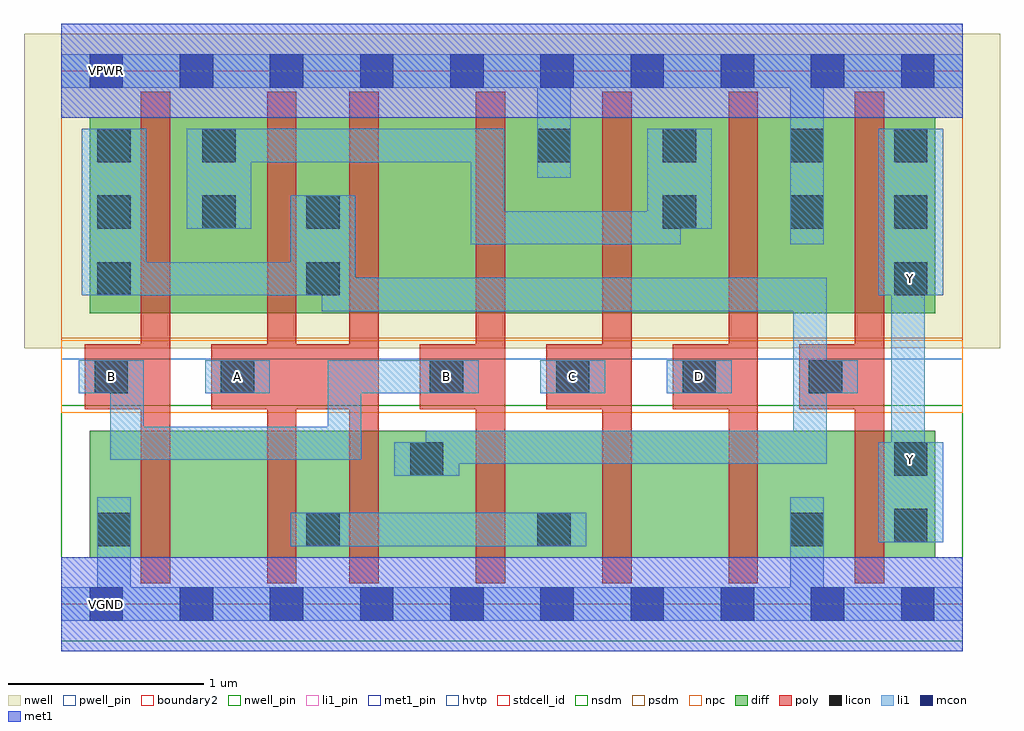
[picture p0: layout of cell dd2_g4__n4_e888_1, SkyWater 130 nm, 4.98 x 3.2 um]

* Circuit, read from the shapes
.subckt dd2_g4__n4_e888_1 A B C D VGND VNB VPB VPWR Y
XM1 n1 B VGND VNB sky130_fd_pr__nfet_01v8 w=0.65 l=0.15
XM2 n2 A n1 VNB sky130_fd_pr__nfet_01v8 w=0.65 l=0.15
XM3 n3 A n2 VNB sky130_fd_pr__nfet_01v8 w=0.65 l=0.15
XM4 n2 B n3 VNB sky130_fd_pr__nfet_01v8 w=0.65 l=0.15
XM5 n4 C n2 VNB sky130_fd_pr__nfet_01v8 w=0.65 l=0.15
XM6 VGND D n4 VNB sky130_fd_pr__nfet_01v8 w=0.65 l=0.15
XM7 Y n3 VGND VNB sky130_fd_pr__nfet_01v8 w=0.65 l=0.15
XM8 n5 B n3 VPB sky130_fd_pr__pfet_01v8_hvt w=1 l=0.15
XM9 n3 A n5 VPB sky130_fd_pr__pfet_01v8_hvt w=1 l=0.15
XM10 n6 A n3 VPB sky130_fd_pr__pfet_01v8_hvt w=1 l=0.15
XM11 VPWR B n6 VPB sky130_fd_pr__pfet_01v8_hvt w=1 l=0.15
XM12 n5 C VPWR VPB sky130_fd_pr__pfet_01v8_hvt w=1 l=0.15
XM13 VPWR D n5 VPB sky130_fd_pr__pfet_01v8_hvt w=1 l=0.15
XM14 Y n3 VPWR VPB sky130_fd_pr__pfet_01v8_hvt w=1 l=0.15
.ends

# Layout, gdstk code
import gdstk
lib = gdstk.Library(unit=1e-6, precision=1e-09)
def R(c, l, rs):  # rectangles x0, y0, x1, y1
    for r in rs: c.add(gdstk.rectangle(r[:2], r[2:], *l))
def A(c, l, x, y, w, h, nx, ny, dx, dy):  # array of equal rectangles
    R(c, l, [(x+i*dx, y+j*dy, x+i*dx+w, y+j*dy+h) for i in range(nx) for j in range(ny)])
nwell_pin = (64, 16)
nwell = (64, 20)
diff = (65, 20)
poly = (66, 20)
licon = (66, 44)
li1_pin = (67, 16)
li1 = (67, 20)
mcon = (67, 44)
met1_pin = (68, 16)
met1 = (68, 20)
hvtp = (78, 44)
stdcell_id = (81, 4)
nsdm = (93, 44)
psdm = (94, 20)
npc = (95, 20)
pwell_pin = (122, 16)
boundary2 = (236, 0)

dd2_g4__n4_e888_1 = lib.new_cell('dd2_g4__n4_e888_1')
R(dd2_g4__n4_e888_1, nwell_pin, [(0.145,2.635,0.315,2.805)])
R(dd2_g4__n4_e888_1, nwell, [(-0.19,1.305,4.79,2.91)])
R(dd2_g4__n4_e888_1, diff, [(0.145,0.235,0.8,0.885), (0.8,0.235,1.335,0.885), (1.335,0.235,1.87,0.885), (1.87,0.235,2.51,0.885), (2.51,0.235,3.155,0.885), (3.155,0.235,3.8,0.885), (3.8,0.235,4.46,0.885), (0.145,1.485,0.8,2.485), (0.8,1.485,1.335,2.485), (1.335,1.485,1.87,2.485), (1.87,1.485,2.51,2.485), (2.51,1.485,3.155,2.485), (3.155,1.485,3.8,2.485), (3.8,1.485,4.46,2.485)])
A(dd2_g4__n4_e888_1, poly, 1.47, 0.105, 0.15, 2.51, 5, 1, 0.645, 0)
A(dd2_g4__n4_e888_1, poly, 1.83, 0.995, 0.435, 0.33, 4, 1, 0.645, 0)
R(dd2_g4__n4_e888_1, poly, [(0.405,0.105,0.555,2.615), (1.05,0.105,1.2,2.615), (0.12,0.995,0.555,1.325), (0.765,0.995,1.2,1.325), (1.05,0.995,1.62,1.325)])
A(dd2_g4__n4_e888_1, licon, 1.88, 1.075, 0.17, 0.17, 4, 1, 0.645, 0)
A(dd2_g4__n4_e888_1, licon, 0.185, 1.575, 0.17, 0.17, 1, 3, 0, 0.34)
A(dd2_g4__n4_e888_1, licon, 4.25, 1.575, 0.17, 0.17, 1, 3, 0, 0.34)
R(dd2_g4__n4_e888_1, licon, [(0.185,0.295,0.355,0.465), (1.25,0.295,1.42,0.465), (2.43,0.295,2.6,0.465), (3.72,0.295,3.89,0.465), (4.25,0.315,4.42,0.485), (1.78,0.655,1.95,0.825), (4.25,0.655,4.42,0.825), (0.17,1.075,0.34,1.245), (0.815,1.075,0.985,1.245), (1.25,1.575,1.42,1.745), (0.72,1.915,0.89,2.085), (1.25,1.915,1.42,2.085), (3.07,1.915,3.24,2.085), (3.72,1.915,3.89,2.085), (0.72,2.255,0.89,2.425), (2.43,2.255,2.6,2.425), (3.07,2.255,3.24,2.425), (3.72,2.255,3.89,2.425)])
A(dd2_g4__n4_e888_1, li1_pin, 1.88, 1.075, 0.17, 0.17, 3, 1, 0.645, 0)
R(dd2_g4__n4_e888_1, li1_pin, [(4.25,0.655,4.42,0.825), (0.17,1.075,0.34,1.245), (0.815,1.075,0.985,1.245), (4.25,1.575,4.42,1.745)])
A(dd2_g4__n4_e888_1, li1, 1.8, 1.075, 0.33, 0.17, 4, 1, 0.645, 0)
R(dd2_g4__n4_e888_1, li1, [(0,-0.085,4.6,0.085), (0.185,-0.085,0.355,0.545), (3.72,-0.085,3.89,0.545), (1.17,0.295,1.5,0.465), (1.33,0.295,2.52,0.465), (2.35,0.295,2.68,0.465), (4.17,0.315,4.5,0.825), (1.7,0.655,2.03,0.825), (1.86,0.655,2.03,0.885), (4.17,0.655,4.5,0.825), (4.235,0.655,4.405,1.745), (1.86,0.715,3.905,0.885), (3.735,0.715,3.905,1.245), (0.25,0.735,0.42,1.245), (0.25,0.735,1.53,0.905), (1.36,0.735,1.53,1.245), (0.09,1.075,0.42,1.245), (0.735,1.075,1.065,1.245), (1.36,1.075,1.97,1.245), (3.735,1.075,3.905,1.665), (1.33,1.495,3.905,1.665), (1.33,1.495,1.5,1.745), (0.105,1.575,0.435,1.745), (0.105,1.575,0.435,2.085), (0.265,1.575,1.34,1.745), (1.17,1.575,1.5,1.745), (1.17,1.575,1.5,2.085), (4.17,1.575,4.5,1.745), (4.17,1.575,4.5,2.085), (2.09,1.835,2.26,2.425), (2.09,1.835,3.16,2.005), (2.99,1.835,3.16,2.425), (3.72,1.835,3.89,2.425), (0.105,1.915,0.435,2.425), (0.64,1.915,0.97,2.425), (2.99,1.915,3.32,2.425), (4.17,1.915,4.5,2.425), (2.43,2.175,2.6,2.805), (3.72,2.175,3.89,2.805), (0.64,2.255,0.97,2.425), (0.8,2.255,2.26,2.425), (2.99,2.255,3.32,2.425), (0,2.635,4.6,2.805)])
A(dd2_g4__n4_e888_1, mcon, 0.145, -0.085, 0.17, 0.17, 10, 2, 0.46, 2.72)
R(dd2_g4__n4_e888_1, met1_pin, [(0.145,-0.085,0.315,0.085), (0.145,2.635,0.315,2.805)])
R(dd2_g4__n4_e888_1, met1, [(0,-0.24,4.6,0.24), (0,2.48,4.6,2.96)])
R(dd2_g4__n4_e888_1, hvtp, [(0,1.25,4.6,2.72)])
R(dd2_g4__n4_e888_1, stdcell_id, [(0,0,4.6,2.72)])
R(dd2_g4__n4_e888_1, nsdm, [(0,-0.19,4.6,1.015)])
R(dd2_g4__n4_e888_1, psdm, [(0,1.355,4.6,2.91)])
R(dd2_g4__n4_e888_1, npc, [(0,0.975,4.6,1.345)])
R(dd2_g4__n4_e888_1, pwell_pin, [(0.145,-0.085,0.315,0.085)])
R(dd2_g4__n4_e888_1, boundary2, [(0,0,4.6,2.72)])
dd2_g4__n4_e888_1.add(gdstk.Label('A', (0.9,1.16), layer=67, texttype=5))
dd2_g4__n4_e888_1.add(gdstk.Label('B', (0.255,1.16), layer=67, texttype=5))
dd2_g4__n4_e888_1.add(gdstk.Label('B', (1.965,1.16), layer=67, texttype=5))
dd2_g4__n4_e888_1.add(gdstk.Label('C', (2.61,1.16), layer=67, texttype=5))
dd2_g4__n4_e888_1.add(gdstk.Label('D', (3.255,1.16), layer=67, texttype=5))
dd2_g4__n4_e888_1.add(gdstk.Label('Y', (4.335,0.74), layer=67, texttype=5))
dd2_g4__n4_e888_1.add(gdstk.Label('Y', (4.335,1.66), layer=67, texttype=5))
dd2_g4__n4_e888_1.add(gdstk.Label('VGND', (0.23,0), layer=68, texttype=5))
dd2_g4__n4_e888_1.add(gdstk.Label('VPWR', (0.23,2.72), layer=68, texttype=5))
dd2_g4__n4_e888_1.add(gdstk.Label('VPB', (0.23,2.72), layer=64, texttype=5))
dd2_g4__n4_e888_1.add(gdstk.Label('VNB', (0.23,0), layer=64, texttype=59))

lib.write_gds('dd2_g4__n4_e888_1.gds')
